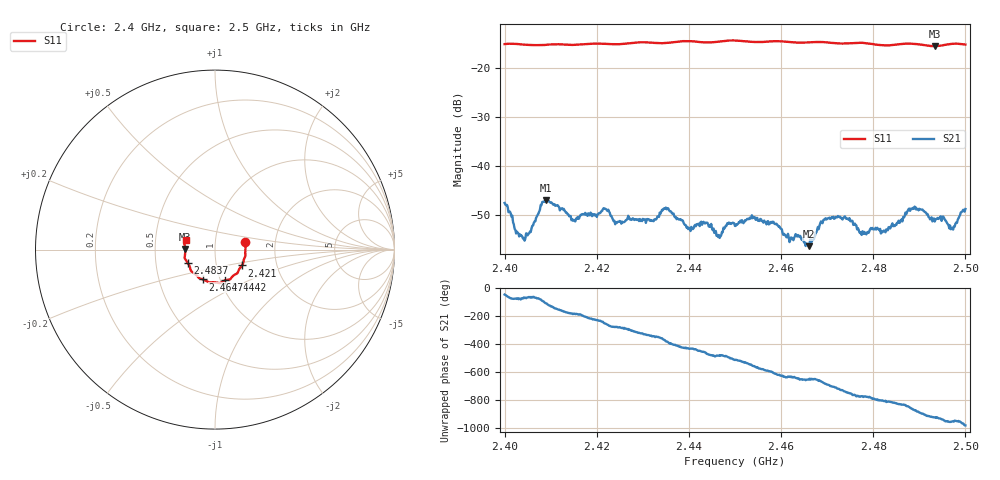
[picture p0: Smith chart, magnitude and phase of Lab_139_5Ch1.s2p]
# Hz S RI R 50
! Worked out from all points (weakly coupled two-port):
!   601 points, 2.4 GHz to 2.5 GHz, reference 50 ohm
!   highest |S21| = -47.02 dB at 2.409 GHz (marker M1); lowest = -56.4 dB at 2.466 GHz (marker M2)
!   lowest |S11| = -15.6 dB at 2.4933 GHz (marker M3), VSWR 1.40, Z = 35.8 + j0.0425 ohm
!   |S11| at or under -10 dB: start of sweep to end of sweep
!   S12 and S22 are empty: the file has one direction only
!   S11 on the Smith chart (normalised r, x): 2.4 GHz: 1.40, +0.12; 2.421 GHz: 1.33, -0.24; 2.4442 GHz: 1.05, -0.37; 2.4647 GHz: 0.83, -0.29; 2.4837 GHz: 0.73, -0.11; 2.5 GHz: 0.72, +0.08
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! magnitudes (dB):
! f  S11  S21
! 2.4 GHz  -15.2  -47.6
! 2.404 GHz  -15.3  -54.9
! 2.409 GHz  -15.4  -47.0
! 2.4167 GHz  -15.3  -50.1
! 2.421 GHz  -15.1  -49.3
! 2.4243 GHz  -15.2  -51.7
! 2.4333 GHz  -15.0  -50.3
! 2.4442 GHz  -14.9  -52.0
! 2.4465 GHz  -14.7  -54.1
! 2.45 GHz  -14.5  -52.3
! 2.4542 GHz  -14.8  -50.5
! 2.4647 GHz  -14.9  -54.8
! 2.466 GHz  -14.9  -56.4
! 2.4667 GHz  -14.8  -55.1
! 2.4708 GHz  -15.0  -50.8
! 2.4777 GHz  -15.0  -53.4
! 2.4833 GHz  -15.5  -52.6
! 2.4837 GHz  -15.5  -52.8
! 2.4887 GHz  -15.2  -48.6
! 2.4933 GHz  -15.6  -51.4
! 2.4973 GHz  -15.1  -53.0
! 2.5 GHz  -15.3  -48.8
